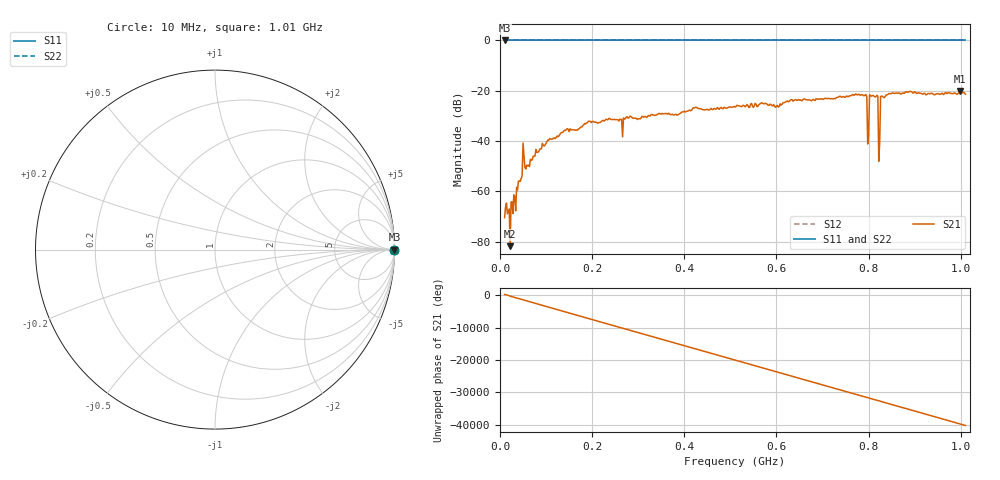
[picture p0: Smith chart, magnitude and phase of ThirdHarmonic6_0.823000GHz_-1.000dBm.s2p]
! 8/16/2025 3:21:32 AM
! C:\ANRITSUVNA\TEMP\TEMP.S2P
! CHANNEL.1
! TR.MEASUREMENT
! RAW.DATA
! RF.CORRECTION.OFF
! AVERAGING.OFF
! IF.BANDWIDTH: 5KHZ
! SWEEPTYPE:  FREQ.SWEEP(Linear)
! Reference Plane Port Info
! PORT:  PORT1  PORT2
! DISTANCE:  0  m  0  m
! TIME:  0  s  0  s
! PHASE.OFFSET:  0  deg.  0  deg.
! LOSS:  0  dB  0  dB
! REF.LOSS:  0  dB  0  dB
! REF.FREQ:  0  Hz  0  Hz
! Power Info
! POWER:  -20  dBm  -20  dBm
! EFF.POWER:  -20  dBm  -20  dBm
! SOURCE.ATTEN:  0  dB  0  dB
! TEST.ATTEN:  0  dB  0  dB
# GHZ S RI R 50.0
! FREQ.GHZ  S11RE  S11IM  S21RE  S21IM  S12RE  S12IM  S22RE  S22IM
!; PortSelection: Port_12
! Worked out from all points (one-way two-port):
!   501 points, 10 MHz to 1.01 GHz, reference 50 ohm
!   highest |S21| = -20.10 dB at 998 MHz (marker M1); lowest = -81.8 dB at 22 MHz (marker M2)
!   lowest |S11| = 0.0 dB at 10 MHz (marker M3)
!   |S11| at or under -10 dB: nowhere
!   |S22| runs from 0.0 to 0.0 dB; largest |S21 - S12| = 1.1
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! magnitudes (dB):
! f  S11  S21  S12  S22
! 10 MHz  0.0  -70.5  0.0  0.0
! 22 MHz  0.0  -81.8  0.0  0.0
! 54 MHz  0.0  -50.5  0.0  0.0
! 60 MHz  0.0  -49.9  0.0  0.0
! 106 MHz  0.0  -39.6  0.0  0.0
! 178 MHz  0.0  -34.4  0.0  0.0
! 344 MHz  0.0  -29.1  0.0  0.0
! 510 MHz  0.0  -26.5  0.0  0.0
! 678 MHz  0.0  -23.6  0.0  0.0
! 790 MHz  0.0  -22.0  0.0  0.0
! 792 MHz  0.0  -21.7  0.0  0.0
! 796 MHz  0.0  -22.2  0.0  0.0
! 800 MHz  0.0  -37.0  0.0  0.0
! 802 MHz  0.0  -21.6  0.0  0.0
! 806 MHz  0.0  -22.1  0.0  0.0
! 816 MHz  0.0  -22.3  0.0  0.0
! 820 MHz  0.0  -22.1  0.0  0.0
! 826 MHz  0.0  -22.3  0.0  0.0
! 830 MHz  0.0  -22.3  0.0  0.0
! 844 MHz  0.0  -21.1  0.0  0.0
! 998 MHz  0.0  -20.1  0.0  0.0
! 1.01 GHz  0.0  -21.4  0.0  0.0
